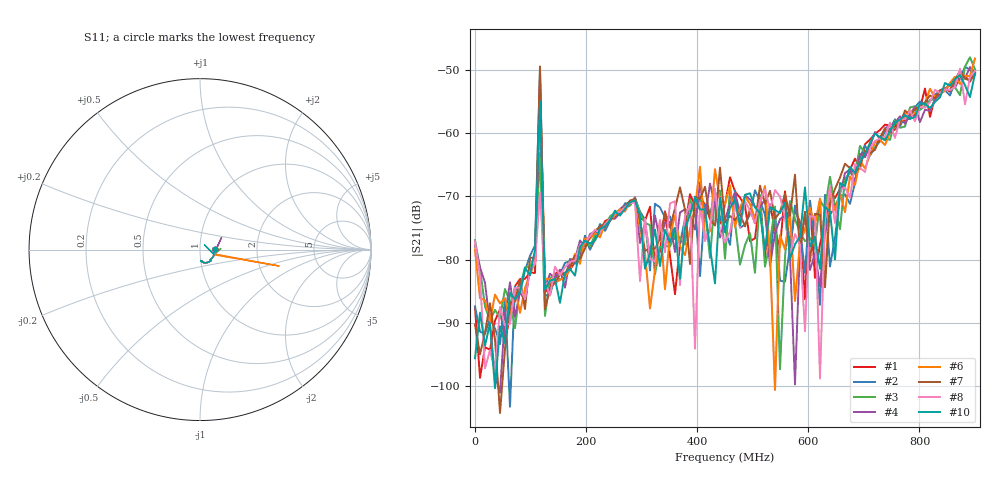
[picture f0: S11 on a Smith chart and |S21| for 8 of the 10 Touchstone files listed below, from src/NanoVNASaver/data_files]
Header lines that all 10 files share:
# HZ S RI R 50
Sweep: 50 kHz to 900 MHz
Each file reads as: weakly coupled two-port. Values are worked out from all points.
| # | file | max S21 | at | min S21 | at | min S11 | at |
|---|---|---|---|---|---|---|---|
| 1 | 20240703-024612.s2p | -50.36 dB | 900 MHz | -98.7 dB | 9.05 MHz | -23.6 dB | 900 MHz |
| 2 | 20240703-024617.s2p | -49.48 dB | 882 MHz | -103.3 dB | 63.05 MHz | -23.8 dB | 891 MHz |
| 3 | 20240703-024622.s2p | -48.01 dB | 891 MHz | -97.3 dB | 549 MHz | -23.8 dB | 891 MHz |
| 4 | 20240703-024627.s2p | -49.57 dB | 891 MHz | -101.0 dB | 45.05 MHz | -23.8 dB | 891 MHz |
| 5 | 20240703-024632.s2p | -47.77 dB | 900 MHz | -93.9 dB | 36.05 MHz | -23.7 dB | 900 MHz |
| 6 | 20240703-024637.s2p | -48.22 dB | 900 MHz | -100.6 dB | 540 MHz | -23.7 dB | 864 MHz |
| 7 | 20240703-024642.s2p | -49.47 dB | 117 MHz | -104.2 dB | 45.05 MHz | -23.7 dB | 864 MHz |
| 8 | 20240703-024647.s2p | -49.80 dB | 873 MHz | -98.8 dB | 621 MHz | -23.7 dB | 891 MHz |
| 9 | 20240703-024652.s2p | -48.71 dB | 900 MHz | -100.3 dB | 54.05 MHz | -23.8 dB | 900 MHz |
| 10 | 20240703-024657.s2p | -50.61 dB | 900 MHz | -100.3 dB | 36.05 MHz | -28.4 dB | 117 MHz |
